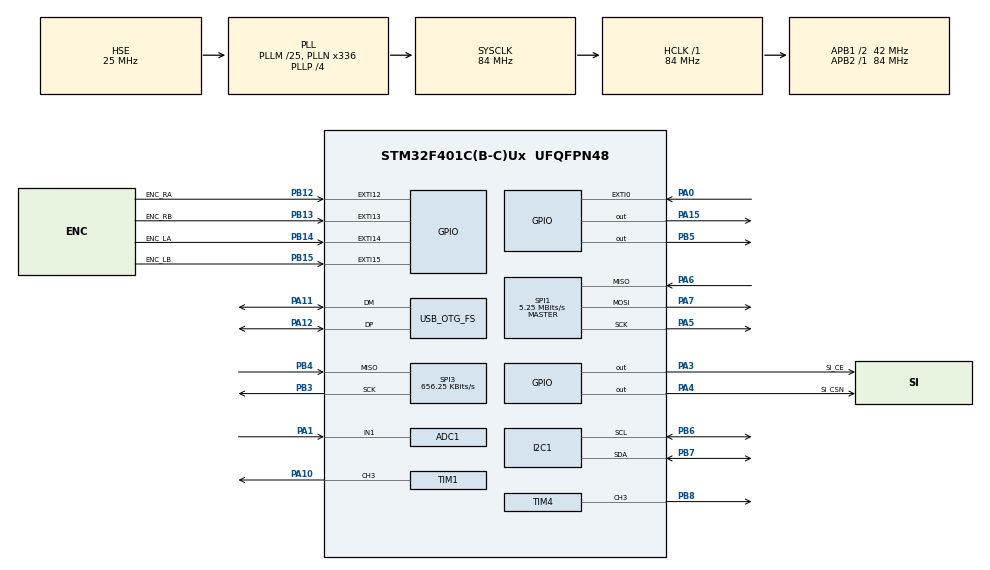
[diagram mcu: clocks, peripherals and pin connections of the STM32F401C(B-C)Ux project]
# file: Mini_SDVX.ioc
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ADC1.Channel-1\#ChannelRegularConversion=ADC_CHANNEL_1
ADC1.NbrOfConversionFlag=1
ADC1.Rank-1\#ChannelRegularConversion=1
ADC1.SamplingTime-1\#ChannelRegularConversion=ADC_SAMPLETIME_3CYCLES
ADC1.master=1
AL94.I-CUBE-USBD-COMPOSITE.1.0.3.CompositeCcUSBJjCOMPOSITEJjCDCIiACM=true
AL94.I-CUBE-USBD-COMPOSITE.1.0.3.CompositeCcUSBJjCOMPOSITEJjCOMPOSITE=true
AL94.I-CUBE-USBD-COMPOSITE.1.0.3.CompositeCcUSBJjCOMPOSITEJjCore=true
AL94.I-CUBE-USBD-COMPOSITE.1.0.3.CompositeCcUSBJjCOMPOSITEJjHIDIiKEYBOARD=true
AL94.I-CUBE-USBD-COMPOSITE.1.0.3.CompositeCcUSBJjCOMPOSITEJjHIDIiMOUSE=true
AL94.I-CUBE-USBD-COMPOSITE.1.0.3._STM32F1_DEVICE=false
AL94.I-CUBE-USBD-COMPOSITE.1.0.3._USBD_USE_CDC_ACM=true
AL94.I-CUBE-USBD-COMPOSITE.1.0.3._USBD_USE_DFU=false
AL94.I-CUBE-USBD-COMPOSITE.1.0.3._USBD_USE_HID_CUSTOM=false
AL94.I-CUBE-USBD-COMPOSITE.1.0.3._USBD_USE_HID_KEYBOARD=true
AL94.I-CUBE-USBD-COMPOSITE.1.0.3._USBD_USE_HID_MOUSE=true
AL94.I-CUBE-USBD-COMPOSITE.1.0.3._USBD_USE_HS=false
Dma.Request0=TIM4_CH3
Dma.Request1=TIM1_CH3
Dma.TIM1_CH3.1.Direction=DMA_MEMORY_TO_PERIPH
Dma.TIM1_CH3.1.FIFOMode=DMA_FIFOMODE_DISABLE
Dma.TIM1_CH3.1.Instance=DMA2_Stream6
Dma.TIM1_CH3.1.MemDataAlignment=DMA_MDATAALIGN_HALFWORD
Dma.TIM1_CH3.1.MemInc=DMA_MINC_ENABLE
Dma.TIM1_CH3.1.Mode=DMA_CIRCULAR
Dma.TIM1_CH3.1.PeriphDataAlignment=DMA_PDATAALIGN_HALFWORD
Dma.TIM1_CH3.1.PeriphInc=DMA_PINC_DISABLE
Dma.TIM1_CH3.1.Priority=DMA_PRIORITY_LOW
Dma.TIM4_CH3.0.Direction=DMA_MEMORY_TO_PERIPH
Dma.TIM4_CH3.0.FIFOMode=DMA_FIFOMODE_DISABLE
Dma.TIM4_CH3.0.Instance=DMA1_Stream7
Dma.TIM4_CH3.0.MemDataAlignment=DMA_MDATAALIGN_HALFWORD
Dma.TIM4_CH3.0.MemInc=DMA_MINC_ENABLE
Dma.TIM4_CH3.0.Mode=DMA_CIRCULAR
Dma.TIM4_CH3.0.PeriphDataAlignment=DMA_PDATAALIGN_HALFWORD
Dma.TIM4_CH3.0.PeriphInc=DMA_PINC_DISABLE
Dma.TIM4_CH3.0.Priority=DMA_PRIORITY_LOW
Mcu.Family=STM32F4
Mcu.Name=STM32F401C(B-C)Ux
Mcu.Package=UFQFPN48
NVIC.DMA1_Stream7_IRQn=true\:0\:0\:false\:false\:true\:false\:true\:true
NVIC.DMA2_Stream6_IRQn=true\:0\:0\:false\:false\:true\:false\:true\:true
NVIC.EXTI0_IRQn=true\:5\:0\:true\:false\:true\:true\:true\:true
NVIC.EXTI15_10_IRQn=true\:5\:0\:true\:false\:true\:true\:true\:true
NVIC.OTG_FS_IRQn=true\:5\:0\:true\:false\:true\:true\:true\:true
NVIC.PriorityGroup=NVIC_PRIORITYGROUP_4
NVIC.TIM3_IRQn=true\:5\:0\:true\:false\:true\:true\:true\:true
NVIC.TIM5_IRQn=true\:0\:0\:true\:false\:true\:true\:true\:true
PA0-WKUP.GPIO_ModeDefaultEXTI=GPIO_MODE_IT_RISING_FALLING
PA0-WKUP.GPIO_PuPd=GPIO_PULLUP
PA0-WKUP.Signal=GPXTI0
PA1.Signal=ADCx_IN1
PA10.Signal=S_TIM1_CH3
PA11.Mode=Device_Only
PA11.Signal=USB_OTG_FS_DM
PA12.Mode=Device_Only
PA12.Signal=USB_OTG_FS_DP
PA13.Mode=Serial_Wire
PA13.Signal=SYS_JTMS-SWDIO
PA14.Mode=Serial_Wire
PA14.Signal=SYS_JTCK-SWCLK
PA15.Signal=GPIO_Output
PA3.GPIO_Label=Si_CE
PA3.Signal=GPIO_Output
PA4.GPIO_Label=Si_CSN
PA4.Signal=GPIO_Output
PA5.Mode=Full_Duplex_Master
PA5.Signal=SPI1_SCK
PA6.Mode=Full_Duplex_Master
PA6.Signal=SPI1_MISO
PA7.Mode=Full_Duplex_Master
PA7.Signal=SPI1_MOSI
PB1.Signal=S_TIM3_CH4
PB12.GPIO_Label=ENC_RA
PB12.GPIO_ModeDefaultEXTI=GPIO_MODE_IT_RISING_FALLING
PB12.GPIO_PuPd=GPIO_PULLUP
PB12.Signal=GPXTI12
PB13.GPIO_Label=ENC_RB
PB13.GPIO_ModeDefaultEXTI=GPIO_MODE_IT_RISING_FALLING
PB13.GPIO_PuPd=GPIO_PULLUP
PB13.Signal=GPXTI13
PB14.GPIO_Label=ENC_LA
PB14.GPIO_ModeDefaultEXTI=GPIO_MODE_IT_RISING_FALLING
PB14.GPIO_PuPd=GPIO_PULLUP
PB14.Signal=GPXTI14
PB15.GPIO_Label=ENC_LB
PB15.GPIO_ModeDefaultEXTI=GPIO_MODE_IT_RISING_FALLING
PB15.GPIO_PuPd=GPIO_PULLUP
PB15.Signal=GPXTI15
PB3.Mode=RX_Only_Simplex_Unidirect_Master
PB3.Signal=SPI3_SCK
PB4.Mode=RX_Only_Simplex_Unidirect_Master
PB4.Signal=SPI3_MISO
PB5.Signal=GPIO_Output
PB6.Mode=I2C
PB6.Signal=I2C1_SCL
PB7.Mode=I2C
PB7.Signal=I2C1_SDA
PB8.GPIO_Speed=GPIO_SPEED_FREQ_HIGH
PB8.Signal=S_TIM4_CH3
PH0\ -\ OSC_IN.Mode=HSE-External-Oscillator
PH0\ -\ OSC_IN.Signal=RCC_OSC_IN
PH1\ -\ OSC_OUT.Mode=HSE-External-Oscillator
PH1\ -\ OSC_OUT.Signal=RCC_OSC_OUT
ProjectManager.HeapSize=0x400
ProjectManager.StackSize=0x400
ProjectManager.TargetToolchain=MDK-ARM V5.32
RCC.48MHZClocksFreq_Value=48000000
RCC.AHBFreq_Value=84000000
RCC.APB1CLKDivider=RCC_HCLK_DIV2
RCC.APB1Freq_Value=42000000
RCC.APB1TimFreq_Value=84000000
RCC.APB2Freq_Value=84000000
RCC.APB2TimFreq_Value=84000000
RCC.CortexFreq_Value=84000000
RCC.HCLKFreq_Value=84000000
RCC.HSE_VALUE=25000000
RCC.HSI_VALUE=16000000
RCC.LSE_VALUE=32768
RCC.PLLM=25
RCC.PLLN=336
RCC.PLLP=RCC_PLLP_DIV4
RCC.PLLQ=7
RCC.SYSCLKFreq_VALUE=84000000
RCC.SYSCLKSource=RCC_SYSCLKSOURCE_PLLCLK
RCC.VCOOutputFreq_Value=336000000
SH.ADCx_IN1.0=ADC1_IN1,IN1
SH.S_TIM1_CH3.0=TIM1_CH3,PWM Generation3 CH3
SH.S_TIM3_CH4.0=TIM3_CH4
SH.S_TIM4_CH3.0=TIM4_CH3,PWM Generation3 CH3
SPI1.BaudRatePrescaler=SPI_BAUDRATEPRESCALER_16
SPI1.CLKPhase=SPI_PHASE_1EDGE
SPI1.CLKPolarity=SPI_POLARITY_HIGH
SPI1.CalculateBaudRate=5.25 MBits/s
SPI1.Direction=SPI_DIRECTION_2LINES
SPI1.Mode=SPI_MODE_MASTER
SPI1.VirtualType=VM_MASTER
SPI3.BaudRatePrescaler=SPI_BAUDRATEPRESCALER_64
SPI3.CLKPhase=SPI_PHASE_1EDGE
SPI3.CLKPolarity=SPI_POLARITY_HIGH
SPI3.CalculateBaudRate=656.25 KBits/s
SPI3.Direction=SPI_DIRECTION_2LINES_RXONLY
SPI3.Mode=SPI_MODE_MASTER
SPI3.VirtualType=VM_MASTER
TIM1.Channel-PWM\ Generation3\ CH3=TIM_CHANNEL_3
TIM1.Period=104
TIM1.Prescaler=0
TIM3.AutoReloadPreload=TIM_AUTORELOAD_PRELOAD_DISABLE
TIM3.Period=999
TIM3.Prescaler=83
TIM4.AutoReloadPreload=TIM_AUTORELOAD_PRELOAD_DISABLE
TIM4.Channel-PWM\ Generation3\ CH3=TIM_CHANNEL_3
TIM4.OCPolarity_3=TIM_OCPOLARITY_HIGH
TIM4.Period=104
TIM4.Prescaler=0
TIM5.AutoReloadPreload=TIM_AUTORELOAD_PRELOAD_DISABLE
TIM5.Period=999
TIM5.Prescaler=83
USB_OTG_FS.VirtualMode=Device_Only
USB_OTG_FS.low_power_enable=DISABLE
VP_AL94.I-CUBE-USBD-COMPOSITE_VS_USBJjComposite_1.0.0_1.0.3.Mode=USBJjComposite
VP_TIM1_VS_ClockSourceINT.Mode=Internal
VP_TIM3_VS_ClockSourceINT.Mode=Internal
VP_TIM5_VS_ClockSourceINT.Mode=Internal
board=custom

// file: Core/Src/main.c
/* USER CODE BEGIN Header */
/**
 ******************************************************************************
 * @file           : main.c
 * @brief          : Main program body
 ******************************************************************************
 * @attention
 *
 * Copyright (c) 2022 STMicroelectronics.
 * All rights reserved.
 *
 * This software is licensed under terms that can be found in the LICENSE file
 * in the root directory of this software component.
 * If no LICENSE file comes with this software, it is provided AS-IS.
 *
 ******************************************************************************
 */
/* USER CODE END Header */
#include "main.h"
#include "adc.h"
#include "dma.h"
#include "i2c.h"
#include "spi.h"
#include "tim.h"
#include "usb_otg.h"
#include "gpio.h"

/* USER CODE BEGIN Includes */
#include "usb_device.h"
#include "usbd_hid_keyboard.h"
#include "usbd_hid_mouse.h"
#include "usbd_cdc_acm.h"
#include "bsp_rgb.h"
#include "nrf24l01.h"
// #include "bsp_24c02.h"
/* USER CODE END Includes */

/* USER CODE BEGIN PD */
extern USBD_HandleTypeDef hUsbDevice;
/* USER CODE END PD */

/* USER CODE BEGIN PM */
uint8_t tx_data[NRF24L01P_PAYLOAD_LENGTH] = {0, 1, 2, 3, 4, 5, 6, 7};
extern uint8_t rx_data[NRF24L01P_PAYLOAD_LENGTH];
/* USER CODE END PM */

void SystemClock_Config(void);

/* USER CODE BEGIN 0 */
void debug(uint8_t *c, uint32_t len)
{
  USBD_CDC_SetTxBuffer(0, &hUsbDevice, c, len);
  USBD_CDC_TransmitPacket(0, &hUsbDevice);
}
/* USER CODE END 0 */

int main(void)
{

  /* MCU Configuration--------------------------------------------------------*/

  /* Reset of all peripherals, Initializes the Flash interface and the Systick. */
  HAL_Init();

  /* Configure the system clock */
  SystemClock_Config();

  /* Initialize all configured peripherals */
  MX_GPIO_Init();
  MX_ADC1_Init();
  MX_SPI1_Init();
  MX_DMA_Init();
  MX_TIM4_Init();
  MX_TIM1_Init();
  MX_SPI3_Init();
  MX_USB_OTG_FS_PCD_Init();
  MX_I2C1_Init();
  MX_TIM3_Init();
  MX_TIM5_Init();
  /* USER CODE BEGIN 2 */
  MX_USB_DEVICE_Init();
  nrf24l01p_rx_init(2500, _1Mbps);
  // HAL_TIM_Base_Start_IT(&htim3);
  // WS_CloseAll();
  // WS_CloseAllK()
  /* USER CODE END 2 */

  /* Infinite loop */
  /* USER CODE BEGIN WHILE */
  while (1)
  {
    // change tx datas
    HAL_Delay(500);
    debug(rx_data, NRF24L01P_PAYLOAD_LENGTH);
    // WS_CloseAll();
    //  HAL_Delay(500);
    //
    // HAL_Delay(500);
    // WS_WriteAll_RGB(4, 0, 9);
    // HAL_Delay(500);
    //  USBD_CDC_SetTxBuffer(0, &hUsbDevice, (uint8_t *)"RGB SEND", 9);
    //  USBD_CDC_TransmitPacket(0, &hUsbDevice);
    // blinkWithKey(5);
    // soloShow(100);
    /* USER CODE END WHILE */

  }
}

void SystemClock_Config(void)
{
  RCC_OscInitTypeDef RCC_OscInitStruct = {0};
  RCC_ClkInitTypeDef RCC_ClkInitStruct = {0};

  /** Configure the main internal regulator output voltage
   */
  __HAL_RCC_PWR_CLK_ENABLE();
  __HAL_PWR_VOLTAGESCALING_CONFIG(PWR_REGULATOR_VOLTAGE_SCALE2);

  /** Initializes the RCC Oscillators according to the specified parameters
   * in the RCC_OscInitTypeDef structure.
   */
  RCC_OscInitStruct.OscillatorType = RCC_OSCILLATORTYPE_HSE;
  RCC_OscInitStruct.HSEState = RCC_HSE_ON;
  RCC_OscInitStruct.PLL.PLLState = RCC_PLL_ON;
  RCC_OscInitStruct.PLL.PLLSource = RCC_PLLSOURCE_HSE;
  RCC_OscInitStruct.PLL.PLLM = 25;
  RCC_OscInitStruct.PLL.PLLN = 336;
  RCC_OscInitStruct.PLL.PLLP = RCC_PLLP_DIV4;
  RCC_OscInitStruct.PLL.PLLQ = 7;
  if (HAL_RCC_OscConfig(&RCC_OscInitStruct) != HAL_OK)
  {
    Error_Handler();
  }

  /** Initializes the CPU, AHB and APB buses clocks
   */
  RCC_ClkInitStruct.ClockType = RCC_CLOCKTYPE_HCLK | RCC_CLOCKTYPE_SYSCLK | RCC_CLOCKTYPE_PCLK1 | RCC_CLOCKTYPE_PCLK2;
  RCC_ClkInitStruct.SYSCLKSource = RCC_SYSCLKSOURCE_PLLCLK;
  RCC_ClkInitStruct.AHBCLKDivider = RCC_SYSCLK_DIV1;
  RCC_ClkInitStruct.APB1CLKDivider = RCC_HCLK_DIV2;
  RCC_ClkInitStruct.APB2CLKDivider = RCC_HCLK_DIV1;

  if (HAL_RCC_ClockConfig(&RCC_ClkInitStruct, FLASH_LATENCY_2) != HAL_OK)
  {
    Error_Handler();
  }
}

void Error_Handler(void)
{
  __disable_irq();
  while (1)
  {
  }
}
